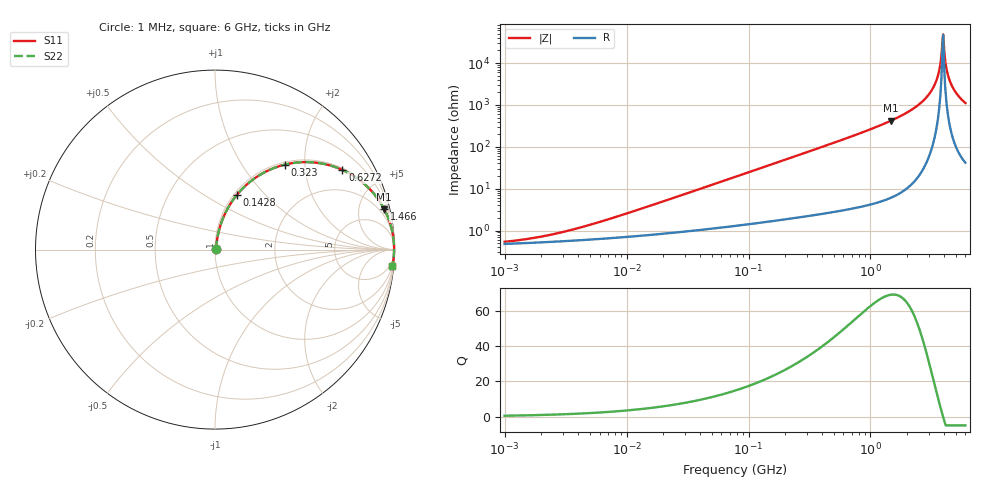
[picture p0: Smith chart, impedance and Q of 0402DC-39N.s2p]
# MHz  S  MA  R  50
!Freq  MagS11  AngS11  MagS21  AngS21  MagS12  AngS12  MagS22  AngS22
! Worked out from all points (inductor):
!   801 points, 1 MHz to 6 GHz, reference 50 ohm
!   read as one part in series: L = 39 nH near 8.255 MHz
!   highest Q = 69.2 at 1.466 GHz (marker M1), where L = 45.3 nH
!   self-resonance near 3.902 GHz
!   S11 on the Smith chart (normalised r, x): 1 MHz: 1.01, +0.00; 142.8 MHz: 1.03, +0.70; 323 MHz: 1.05, +1.59; 627.2 MHz: 1.06, +3.15; 1.466 GHz: 1.12, +8.34; 6 GHz: 2, -22
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1  0.00535 27.0  0.9952 -0.1  0.9952 -0.1  0.00535 27.0
2.050572  0.007216 43.6  0.9948 -0.3  0.9948 -0.3  0.007216 43.6
4.297353  0.012 60.2  0.9941 -0.6  0.9941 -0.6  0.012 60.2
18.2674  0.04509 77.1  0.9909 -2.5  0.9909 -2.5  0.04509 77.1
77.65193  0.1851 75.5  0.9703 -10.6  0.9703 -10.6  0.1851 75.5
142.8149  0.3264 68.3  0.9303 -19.0  0.9303 -19.0  0.3264 68.3
322.9811  0.6149 50.4  0.7714 -37.9  0.7714 -37.9  0.6149 50.4
333.6978  0.6274 49.6  0.7614 -38.8  0.7614 -38.8  0.6274 49.6
627.2279  0.8371 32.0  0.5307 -56.8  0.5307 -56.8  0.8371 32.0
1418.499  0.9668 14.0  0.2419 -75.2  0.2419 -75.2  0.9668 14.0
1465.565  0.9693 13.4  0.2324 -75.7  0.2324 -75.7  0.9693 13.4
2264.75  0.9908 6.9  0.1194 -82.2  0.1194 -82.2  0.9908 6.9
3005.247  0.9966 3.2  0.05636 -84.9  0.05636 -84.9  0.9966 3.2
3499.738  0.9979 1.4  0.02432 -84.2  0.02432 -84.2  0.9979 1.4
3655.418  0.998 0.9  0.01532 -82.0  0.01532 -82.0  0.998 0.9
3818.023  0.998 0.4  0.006474 -72.2  0.006474 -72.2  0.998 0.4
3944.706  0.998 -0.0  0.002074 16.3  0.002074 16.3  0.998 -0.0
4075.593  0.9979 -0.4  0.007622 74.0  0.007622 74.0  0.9979 -0.4
4303.46  0.9977 -1.1  0.01875 82.3  0.01875 82.3  0.9977 -1.1
4593.778  0.9972 -1.8  0.0323 84.0  0.0323 84.0  0.9972 -1.8
5177.847  0.9956 -3.3  0.05754 84.0  0.05754 84.0  0.9956 -3.3
6000  0.9926 -5.1  0.08959 82.7  0.08959 82.7  0.9926 -5.1
